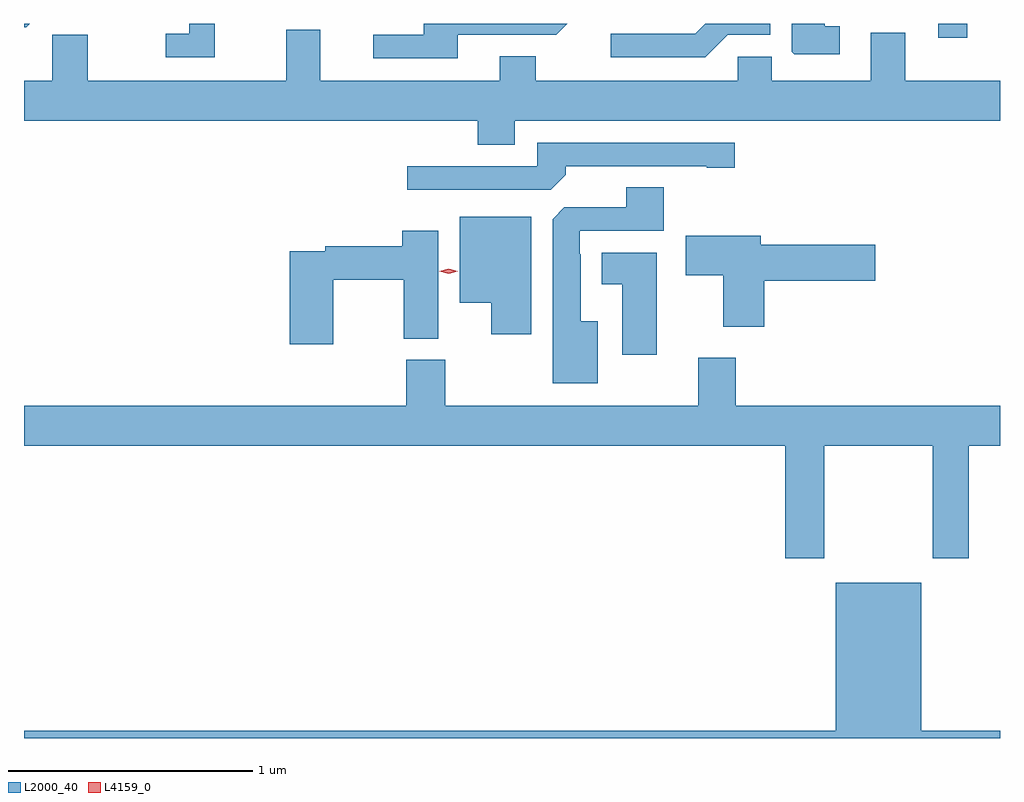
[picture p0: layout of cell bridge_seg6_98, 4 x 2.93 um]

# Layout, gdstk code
import gdstk
lib = gdstk.Library(unit=1e-6, precision=1e-09)
def R(c, l, rs):  # rectangles x0, y0, x1, y1
    for r in rs: c.add(gdstk.rectangle(r[:2], r[2:], *l))
def P(c, l, *ps):  # polygons
    for p in ps: c.add(gdstk.Polygon(p, *l))
L2000_40 = (2000, 40)
L4159_0 = (4159, 0)

bridge_seg6_98 = lib.new_cell('bridge_seg6_98')
R(bridge_seg6_98, L2000_40, [(704.12,918.372,704.239,918.429)])
P(bridge_seg6_98, L2000_40, [(702.151,918.384),(702.555,918.384),(702.599,918.429),(702.011,918.429),(702.011,918.384),(701.805,918.384),(701.805,918.288),(702.151,918.288)],
  [(703.717,918.419),(703.654,918.419),(703.654,918.429),(703.52,918.429),(703.52,918.313),(703.53,918.303),(703.717,918.303)],
  [(700.397,918.429),(700.373,918.429),(700.373,918.415),(700.383,918.415)],
  [(701.155,918.429),(701.051,918.429),(701.051,918.387),(700.953,918.387),(700.953,918.291),(701.155,918.291)],
  [(703.257,918.384),(703.431,918.384),(703.431,918.429),(703.164,918.429),(703.123,918.388),(702.777,918.388),(702.777,918.291),(703.164,918.291)],
  [(702.385,918.032),(704.373,918.032),(704.373,918.196),(703.984,918.196),(703.984,918.391),(703.844,918.391),(703.844,918.196),(703.438,918.196),(703.438,918.294),(703.299,918.294),(703.299,918.196),(702.471,918.196),(702.471,918.295),(702.323,918.295),(702.323,918.196),(701.587,918.196),(701.587,918.404),(701.447,918.404),(701.447,918.196),(700.635,918.196),(700.635,918.384),(700.488,918.384),(700.488,918.196),(700.373,918.196),(700.373,918.032),(702.233,918.032),(702.233,917.933),(702.385,917.933)],
  [(702.593,917.81),(702.593,917.844),(703.172,917.844),(703.172,917.839),(703.285,917.839),(703.285,917.94),(702.477,917.94),(702.477,917.844),(701.943,917.844),(701.943,917.748),(702.531,917.748)],
  [(702.724,917.209),(702.655,917.209),(702.655,917.483),(702.651,917.483),(702.651,917.58),(702.995,917.58),(702.995,917.759),(702.842,917.759),(702.842,917.676),(702.588,917.676),(702.539,917.627),(702.539,916.955),(702.724,916.955)],
  [(702.451,917.638),(702.158,917.638),(702.158,917.285),(702.287,917.285),(702.287,917.157),(702.451,917.157)],
  [(701.64,917.38),(701.929,917.38),(701.929,917.137),(702.07,917.137),(702.07,917.581),(701.924,917.581),(701.924,917.516),(701.608,917.516),(701.608,917.496),(701.462,917.496),(701.462,917.115),(701.64,917.115)],
  [(703.406,917.375),(703.861,917.375),(703.861,917.522),(703.393,917.522),(703.393,917.56),(703.086,917.56),(703.086,917.398),(703.238,917.398),(703.238,917.187),(703.406,917.187)],
  [(702.967,917.491),(702.74,917.491),(702.74,917.36),(702.824,917.36),(702.824,917.073),(702.967,917.073)],
  [(703.653,916.7),(704.098,916.7),(704.098,916.239),(704.245,916.239),(704.245,916.7),(704.373,916.7),(704.373,916.864),(703.289,916.864),(703.289,917.059),(703.136,917.059),(703.136,916.864),(702.099,916.864),(702.099,917.052),(701.939,917.052),(701.939,916.864),(700.373,916.864),(700.373,916.7),(703.493,916.7),(703.493,916.239),(703.653,916.239)],
  [(704.373,915.532),(704.05,915.532),(704.05,916.138),(703.7,916.138),(703.7,915.532),(700.373,915.532),(700.373,915.5),(704.373,915.5)])
P(bridge_seg6_98, L4159_0, [(702.113,917.404),(702.075,917.414),(702.074,917.414),(702.075,917.414),(702.113,917.424),(702.151,917.414),(702.151,917.414),(702.151,917.414)])

lib.write_gds('bridge_seg6_98.gds')
